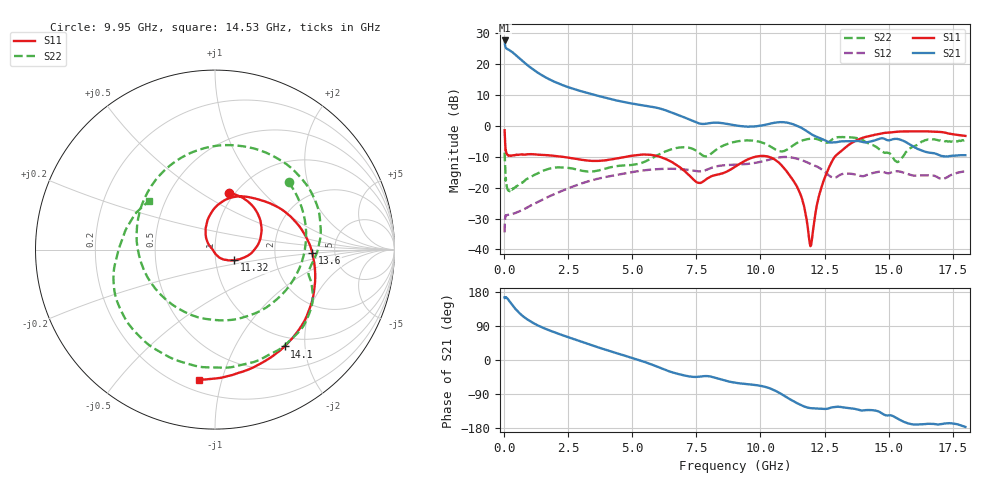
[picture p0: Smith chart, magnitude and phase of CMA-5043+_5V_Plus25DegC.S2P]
!Created: 1/2/2014 at 2:07:09 PM
!Mini-Circuits
!S2P DATA File Format
!Type: MMIC Amplifier
!Model: CMA-5043+
!S/N: Unit 1
!RUN# Q13020, D/C 1336 MOUNTED ON TB-757+
!PIN OUT: PORT 1 - PIN 2, PORT 2 - PIN 7, GROUND - ALL OTHERS
!TEST CONDITIONS: Temp= 25 (Deg C) RF Power= -25.00 (dBm) V limit=5(V) I limit=250(mA) Z=50 OHM
!Tested with Network Analyzer: !Agilent AG N5242A, S/N 71404, CAL DUE DATE: 5/31/14
# Hz  S  dB  R  50
!Frequency  S11 dB  S11 Deg  S21 dB  S21 Deg  S12 dB  S12 Deg  S22 dB  S22 Deg
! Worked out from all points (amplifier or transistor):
!   879 points, 10 MHz to 18 GHz, reference 50 ohm
!   highest |S21| = 27.7 dB at 10 MHz (marker M1)
!   |S21| within 3 dB of that: start of sweep to 167 MHz
!   unconditionally stable (mu >= 1): 92.46 MHz to end of sweep
!   at 740 MHz: K = 1.09, MAG = 22.1 dB, |S12| = -27.1 dB
!   at 7.025 GHz: K = 1.49, MAG = 4.3 dB, |S12| = -14.1 dB
!   at 18 GHz: K = 3.04, MAG = -5.1 dB, |S12| = -14.7 dB
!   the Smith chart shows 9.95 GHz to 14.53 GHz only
!   S11 on the Smith chart (normalised r, x): 9.95 GHz: 0.94, +0.66; 11.32 GHz: 1.23, -0.15; 13.6 GHz: 3.37, -0.19; 14.1 GHz: 0.84, -1.62; 14.53 GHz: 0.27, -0.85
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1e7  -1.38 -22.8  27.72 165.3  -34.48 84.2  -8.63 30.8
3.5e7  -6.01 -41.0  25.82 164.6  -29.61 28.9  -13.92 -36.1
6e7  -8.11 -43.4  25.32 165.7  -29.13 13.9  -17.11 -46.5
3.2e8  -9.53 -95.8  23.87 144.1  -28.49 -15.8  -20.43 -55.8
5e8  -9.37 -133.9  22.61 129.7  -27.97 -28.8  -19.43 -81.5
1e9  -9.14 147.9  19.07 102.6  -25.92 -68.1  -16.61 -158.4
1.725e9  -9.50 66.4  15.26 79.0  -22.90 -136.6  -13.92 103.0
3.025e9  -10.97 -70.3  11.20 48.0  -18.59 84.9  -14.49 -80.1
6.025e9  -9.87 -33.0  5.76 -19.1  -13.96 96.9  -9.28 148.8
7.15e9  -15.47 -136.7  2.36 -42.5  -14.19 -34.4  -6.97 -1.5
9.025e9  -13.12 141.6  0.20 -60.0  -12.54 118.0  -5.09 152.3
9.95e9  -9.75 76.4  0.02 -67.6  -11.72 11.6  -5.10 42.4
1.07e10  -11.76 12.8  1.21 -85.3  -10.23 -83.6  -8.07 -86.3
1.1325e10  -18.30 -29.4  0.41 -110.2  -10.38 -172.3  -6.00 135.0
1.2025e10  -35.61 165.8  -2.85 -127.4  -12.57 93.5  -4.10 38.3
1.36e10  -5.30 -2.1  -4.91 -128.1  -15.56 -74.2  -3.76 -115.8
1.41e10  -3.55 -54.3  -5.31 -132.3  -16.04 -123.8  -5.17 -174.9
1.4525e10  -2.74 -97.0  -4.49 -134.0  -14.98 -172.1  -6.81 144.0
1.5025e10  -2.12 -146.6  -4.64 -145.8  -15.28 129.5  -8.80 108.5
1.6475e10  -1.74 91.9  -8.46 -168.8  -15.98 -35.5  -4.55 24.9
1.7275e10  -2.31 28.5  -9.85 -167.1  -16.69 -118.9  -4.91 -88.1
1.8e10  -3.22 -41.7  -9.46 -176.5  -14.70 144.2  -4.46 145.0
